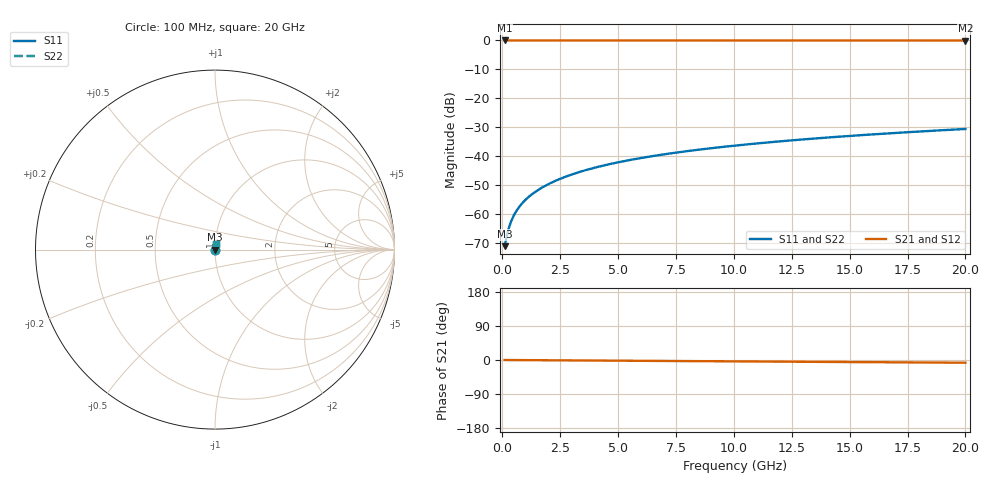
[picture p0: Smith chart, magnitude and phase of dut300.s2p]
! Touchstone file exported from HFSS 2026.1.0
!  File:  C:/ffzhzh/LocalFiles/Ansys_Project_Files/temp_train_TSV_300_1783017879_46388.aedt
!  Generated:  02:46:28 AM Jul  3, 2026
!  Design:  TSV
!  Project:  temp_train_TSV_300_1783017879_46388
! Variables:
!  h_bsmrdl = 2um
!  h_ox = 20um
!  h_rdl = 5um
!  h_sub = 68.74um
!  h_tmrdl = 5um
!  h_tsv = 68.74um
!  h_via = 3um
!  l_bsmrdl = 300um
!  l_sub = 413.78um
!  l_tmrdl = 200um
!  m_sub = 200um
!  pitch = 37.57um
!  r_tsv = 6.89um
!  s_tmrdl = 10um
!  w_bsmrdl = 18um
!  w_sub = 500um
!  w_tmrdl = 12um
!  x_tsv_center1 = 206um
!  x_tsv_center2 = 524um
!  x_tsv_center3 = 736um
!  x_tsv_center4 = 1054um
!  x_tsv_center5 = 1266um
!  x_tsv_center6 = 1584um
# GHz S MA R 50.000000
! Terminal data exported
! Port[1] = TSV1_1_T1
! Port[2] = TSV1_1_T2
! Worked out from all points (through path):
!   200 points, 100 MHz to 20 GHz, reference 50 ohm
!   highest |S21| = 0.00 dB at 100 MHz (marker M1); lowest = 0.0 dB at 20 GHz (marker M2)
!   lowest |S11| = -71.2 dB at 100 MHz (marker M3), VSWR 1.00, Z = 50 + j0.0188 ohm
!   |S11| at or under -10 dB: start of sweep to end of sweep
!   |S22| runs from -71.2 to -30.6 dB; largest |S21 - S12| = 3.3e-15
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0.1  0.0002766 42.8  0.9998 -0.0  0.9998 -0.0  0.0002766 42.8
! Gamma 0 0 0 0
! Port Impedance 50 0 50 0
0.2  0.0004304 60.3  0.9998 -0.1  0.9998 -0.1  0.0004304 60.3
0.3  0.0006011 67.5  0.9998 -0.1  0.9998 -0.1  0.0006011 67.5
0.4  0.0007736 71.2  0.9998 -0.2  0.9998 -0.2  0.0007736 71.2
0.5  0.0009439 73.3  0.9997 -0.2  0.9997 -0.2  0.0009439 73.3
0.6  0.001111 74.7  0.9997 -0.2  0.9997 -0.2  0.001111 74.7
0.7  0.001274 75.7  0.9997 -0.3  0.9997 -0.3  0.001274 75.7
0.8  0.001435 76.4  0.9997 -0.3  0.9997 -0.3  0.001435 76.4
1  0.00175 77.6  0.9996 -0.4  0.9996 -0.4  0.00175 77.6
1.4  0.002368 79.3  0.9996 -0.5  0.9996 -0.5  0.002368 79.3
1.7  0.002827 80.2  0.9995 -0.6  0.9995 -0.6  0.002827 80.2
2  0.003285 80.8  0.9995 -0.7  0.9995 -0.7  0.003285 80.8
2.7  0.00435 81.8  0.9994 -1.0  0.9994 -1.0  0.00435 81.8
3.5  0.00556 82.4  0.9994 -1.3  0.9994 -1.3  0.00556 82.4
4.2  0.00661 82.6  0.9993 -1.5  0.9993 -1.5  0.00661 82.6
5  0.0078 82.7  0.9992 -1.8  0.9992 -1.8  0.0078 82.7
6.8  0.01045 82.8  0.9991 -2.5  0.9991 -2.5  0.01045 82.8
8.3  0.01264 82.6  0.999 -3.0  0.999 -3.0  0.01264 82.6
10.1  0.01525 82.4  0.9988 -3.6  0.9988 -3.6  0.01525 82.4
13.4  0.02001 81.7  0.9986 -4.8  0.9986 -4.8  0.02001 81.7
16.7  0.02474 80.9  0.9983 -6.0  0.9983 -6.0  0.02474 80.9
20  0.02943 79.9  0.9981 -7.2  0.9981 -7.2  0.02943 79.9
